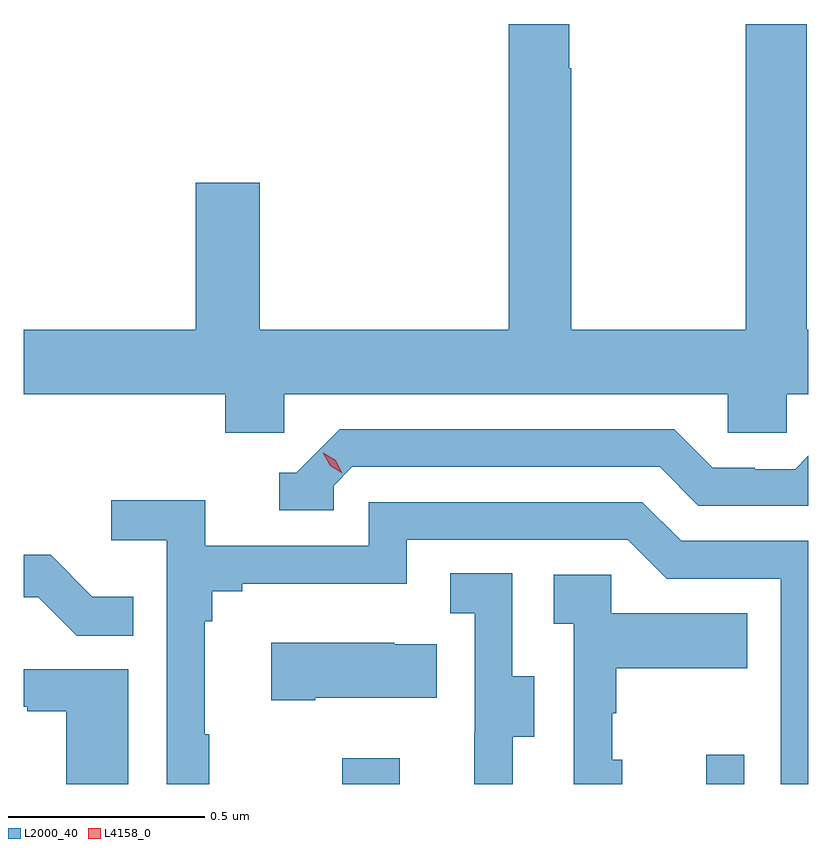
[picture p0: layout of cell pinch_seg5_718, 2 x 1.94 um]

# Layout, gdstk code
import gdstk
lib = gdstk.Library(unit=1e-6, precision=1e-09)
def R(c, l, rs):  # rectangles x0, y0, x1, y1
    for r in rs: c.add(gdstk.rectangle(r[:2], r[2:], *l))
def P(c, l, *ps):  # polygons
    for p in ps: c.add(gdstk.Polygon(p, *l))
L2000_40 = (2000, 40)
L4158_0 = (4158, 0)

pinch_seg5_718 = lib.new_cell('pinch_seg5_718')
R(pinch_seg5_718, L2000_40, [(1142.404,846.442,1142.551,846.508), (1143.332,846.442,1143.429,846.517)])
P(pinch_seg5_718, L2000_40, [(1142.256,847.436),(1143.387,847.436),(1143.387,847.338),(1143.537,847.338),(1143.537,847.436),(1143.592,847.436),(1143.592,847.6),(1143.588,847.6),(1143.588,848.38),(1143.433,848.38),(1143.433,847.6),(1142.988,847.6),(1142.988,848.267),(1142.983,848.267),(1142.983,848.38),(1142.828,848.38),(1142.828,847.6),(1142.194,847.6),(1142.194,847.975),(1142.03,847.975),(1142.03,847.6),(1141.592,847.6),(1141.592,847.436),(1142.105,847.436),(1142.105,847.338),(1142.256,847.338)],
  [(1142.382,847.203),(1142.43,847.251),(1143.213,847.251),(1143.312,847.152),(1143.592,847.152),(1143.592,847.279),(1143.559,847.245),(1143.456,847.245),(1143.456,847.248),(1143.349,847.248),(1143.25,847.347),(1142.397,847.347),(1142.286,847.236),(1142.243,847.236),(1142.243,847.14),(1142.382,847.14)],
  [(1142.065,846.569),(1142.053,846.569),(1142.053,846.857),(1142.072,846.857),(1142.072,846.934),(1142.149,846.934),(1142.149,846.953),(1142.568,846.953),(1142.568,847.065),(1143.132,847.065),(1143.231,846.966),(1143.522,846.966),(1143.522,846.442),(1143.592,846.442),(1143.592,847.062),(1143.268,847.062),(1143.169,847.161),(1142.472,847.161),(1142.472,847.05),(1142.054,847.05),(1142.054,847.166),(1141.815,847.166),(1141.815,847.064),(1141.956,847.064),(1141.956,846.442),(1142.065,846.442)],
  [(1141.871,846.919),(1141.767,846.919),(1141.66,847.026),(1141.592,847.026),(1141.592,846.918),(1141.629,846.918),(1141.727,846.82),(1141.871,846.82)],
  [(1142.839,846.562),(1142.893,846.562),(1142.893,846.717),(1142.838,846.717),(1142.838,846.98),(1142.679,846.98),(1142.679,846.877),(1142.742,846.877),(1142.742,846.573),(1142.741,846.573),(1142.741,846.442),(1142.839,846.442)],
  [(1143.118,846.504),(1143.093,846.504),(1143.093,846.623),(1143.103,846.623),(1143.103,846.737),(1143.437,846.737),(1143.437,846.877),(1143.09,846.877),(1143.09,846.975),(1142.943,846.975),(1142.943,846.851),(1142.994,846.851),(1142.994,846.442),(1143.118,846.442)],
  [(1142.335,846.662),(1142.645,846.662),(1142.645,846.799),(1142.537,846.799),(1142.537,846.802),(1142.223,846.802),(1142.223,846.655),(1142.335,846.655)],
  [(1141.858,846.735),(1141.592,846.735),(1141.592,846.639),(1141.601,846.639),(1141.601,846.627),(1141.7,846.627),(1141.7,846.442),(1141.858,846.442)])
P(pinch_seg5_718, L4158_0, [(1142.404,847.235),(1142.373,847.254),(1142.356,847.286),(1142.356,847.287),(1142.356,847.287),(1142.387,847.268),(1142.404,847.235),(1142.404,847.235)])

lib.write_gds('pinch_seg5_718.gds')
